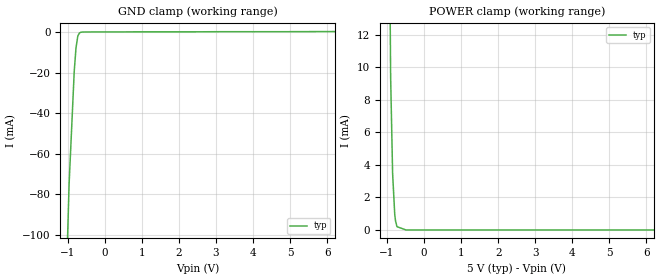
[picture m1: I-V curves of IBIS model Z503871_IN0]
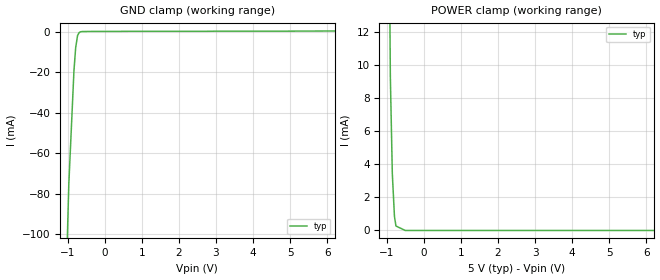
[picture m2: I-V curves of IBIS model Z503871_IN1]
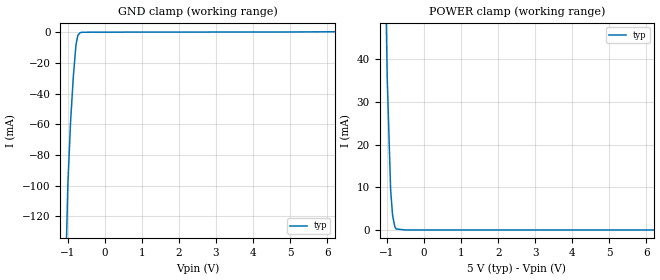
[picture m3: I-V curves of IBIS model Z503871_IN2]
| YOU ARE ONLY AUTHORIZED TO USE THIS SOFTWARE
| ACCORDING TO LICENSOR'S LICENSE RESTRICTIONS.
[IBIS Ver] 3.1
[File Name] mc74act573dw.ibs
[File Rev] 2.0
[Source] Measured and created by ICX Technology
[Date] Friday 7/14/00 9:08:02 AM
[Copyright]
| (C) COPYRIGHT 1993-2000
| MENTOR GRAPHICS CORPORATION
| ICX STANDARD LIBRARY, ICX PROJECT MODELING,
| ICX CUSTOM MODELING, ICX VENDOR MODEL
| ALL RIGHTS RESERVED.
| THE FOLLOWING ARE TRADEMARKS OR SERVICE MARKS OF
| MENTOR GRAPHICS CORPORATION:ICX (R), ICX STANDARD
| LIBRARY(R), ICX PROJECT MODELING(R), ICX CUSTOM
| MODELING(R), qualityIBIS(TM), MODELVIEWER(TM),
| AND MODELEDITOR(TM)
| ALL COPIES OF SOFTWARE, INCLUDING BUT NOT LIMITED TO
| ANY MODIFICATIONS, ENHANCEMENTS OR DERIVATIVE WORKS,
| MUST CONTAIN ALL MENTOR GRAPHICS CORPORATION'S
| NOTICES AND LEGENDS, INCLUDING THOSE EMBEDDED IN
| SOFTWARE AND THOSE AFFIXED TO SOFTWARE MEDIUM
| AND CONTAINER, AS RECEIVED FROM MENTOR GRAPHICS
| CORPORATION.
|  ZAP Model Builder 2.7
[Component] MC74ACT573DW
[Manufacturer] OnSemiconductor
[Package]
| variable   typ   min   max
R_pkg  .178ohms NA NA
L_pkg  4.43nH NA NA
C_pkg  .62pF NA NA
[Pin] signal_name  model_name  R_pin  L_pin C_pin
1 _EN Z503871_IN0 .186 5.37n .68p
2 D0 Z503871_IN1 .182 4.89n .65p
3 D1 Z503871_IN1 .178 4.42n .62p
4 D2 Z503871_IN1 .174 3.96n .59p
5 D3 Z503871_IN1 .17 3.51n .56p
6 D4 Z503871_IN1 .17 3.51n .56p
7 D5 Z503871_IN1 .174 3.96n .59p
8 D6 Z503871_IN1 .178 4.42n .62p
9 D7 Z503871_IN1 .182 4.89n .65p
10 GND GND .186 5.37n .68p
11 CLK Z503871_IN2 .186 5.37n .68p
12 Q7 Z503871_TRI .182 4.89n .65p
13 Q6 Z503871_TRI .178 4.42n .62p
14 Q5 Z503871_TRI .174 3.96n .59p
15 Q4 Z503871_TRI .17 3.51n .56p
16 Q3 Z503871_TRI .17 3.51n .56p
17 Q2 Z503871_TRI .174 3.96n .59p
18 Q1 Z503871_TRI .178 4.42n .62p
19 Q0 Z503871_TRI .182 4.89n .65p
20 VCC POWER .186 5.37n .68p
| Models and submodels in the file (4): Z503871_IN0 (Input), Z503871_IN1 (Input), Z503871_IN2 (Input), Z503871_TRI (3-state)
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| (C) COPYRIGHT 1993-2000
| MENTOR GRAPHICS CORPORATION
| ICX STANDARD LIBRARY, ICX PROJECT MODELING,
| ICX CUSTOM MODELING, ICX VENDOR MODEL
| ALL RIGHTS RESERVED.
| THE FOLLOWING ARE TRADEMARKS OR SERVICE MARKS OF
| MENTOR GRAPHICS CORPORATION:ICX (R), ICX STANDARD
| LIBRARY(R), ICX PROJECT MODELING(R), ICX CUSTOM
| MODELING(R), qualityIBIS(TM), MODELVIEWER(TM),
| AND MODELEDITOR(TM)
| ALL COPIES OF SOFTWARE, INCLUDING BUT NOT LIMITED TO
| ANY MODIFICATIONS, ENHANCEMENTS OR DERIVATIVE WORKS,
| MUST CONTAIN ALL MENTOR GRAPHICS CORPORATION'S
| NOTICES AND LEGENDS, INCLUDING THOSE EMBEDDED IN
| SOFTWARE AND THOSE AFFIXED TO SOFTWARE MEDIUM
| AND CONTAINER, AS RECEIVED FROM MENTOR GRAPHICS
| CORPORATION.
| Model Application Version 1.89 2/18/99.
[Model] Z503871_IN0
Model_type Input
Vinl = 800.0mV
Vinh = 2.000V
C_comp 4.000pF NA NA
| variable typ   min   max
[Voltage Range] 5.000V NA NA
[GND Clamp Reference] 0.000V NA NA
[POWER Clamp Reference] 5.000V NA NA
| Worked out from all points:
|   GND clamp passes 1 mA (typ) near -0.70 V on its own axis
|   POWER clamp passes 1 mA (typ) near -0.79 V on its own axis
[GND Clamp]
-5V       -2.664A    NA         NA
-966.7mV  -75.17mA   NA         NA
-828mV    -19.4mA    NA         NA
-781.1mV  -7.911mA   NA         NA
-730.7mV  -1.844mA   NA         NA
-687.2mV  -423.3uA   NA         NA
-648.2mV  -17.41uA   NA         NA
10V       567.7uA    NA         NA
[POWER Clamp]
-5V       2.844A     NA         NA
-1.113V   94.6mA     NA         NA
-1.01V    41.2mA     NA         NA
-903mV    9.41mA     NA         NA
-850mV    3.496mA    NA         NA
-792mV    943.2uA    NA         NA
-771mV    557.6uA    NA         NA
-732mV    202.8uA    NA         NA
-488mV    0A         NA         NA
10V       0A         NA         NA
| (C) COPYRIGHT 1993-2000
| MENTOR GRAPHICS CORPORATION
| ICX STANDARD LIBRARY, ICX PROJECT MODELING,
| ICX CUSTOM MODELING, ICX VENDOR MODEL
| ALL RIGHTS RESERVED.
| THE FOLLOWING ARE TRADEMARKS OR SERVICE MARKS OF
| MENTOR GRAPHICS CORPORATION:ICX (R), ICX STANDARD
| LIBRARY(R), ICX PROJECT MODELING(R), ICX CUSTOM
| MODELING(R), qualityIBIS(TM), MODELVIEWER(TM),
| AND MODELEDITOR(TM)
| ALL COPIES OF SOFTWARE, INCLUDING BUT NOT LIMITED TO
| ANY MODIFICATIONS, ENHANCEMENTS OR DERIVATIVE WORKS,
| MUST CONTAIN ALL MENTOR GRAPHICS CORPORATION'S
| NOTICES AND LEGENDS, INCLUDING THOSE EMBEDDED IN
| SOFTWARE AND THOSE AFFIXED TO SOFTWARE MEDIUM
| AND CONTAINER, AS RECEIVED FROM MENTOR GRAPHICS
| CORPORATION.
| Model Application Version 1.89 2/18/99.
[Model] Z503871_IN1
Model_type Input
Vinl = 800.0mV
Vinh = 2.000V
C_comp 4.000pF NA NA
| variable typ   min   max
[Voltage Range] 5.000V NA NA
[GND Clamp Reference] 0.000V NA NA
[POWER Clamp Reference] 5.000V NA NA
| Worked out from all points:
|   GND clamp passes 1 mA (typ) near -0.71 V on its own axis
|   POWER clamp passes 1 mA (typ) near -0.80 V on its own axis
[GND Clamp]
-5V       -2.775A    NA         NA
-966.8mV  -75.53mA   NA         NA
-828.2mV  -19.37mA   NA         NA
-781.3mV  -7.857mA   NA         NA
-730.1mV  -1.813mA   NA         NA
-687.2mV  -410uA     NA         NA
-648.2mV  6.625uA    NA         NA
10V       603.8uA    NA         NA
[POWER Clamp]
-5V       2.713A     NA         NA
-1.113V   92.68mA    NA         NA
-1.011V   40.53mA    NA         NA
-903mV    9.313mA    NA         NA
-850mV    3.448mA    NA         NA
-792mV    839.1uA    NA         NA
-752mV    271uA      NA         NA
-501.3mV  0A         NA         NA
10V       0A         NA         NA
| (C) COPYRIGHT 1993-2000
| MENTOR GRAPHICS CORPORATION
| ICX STANDARD LIBRARY, ICX PROJECT MODELING,
| ICX CUSTOM MODELING, ICX VENDOR MODEL
| ALL RIGHTS RESERVED.
| THE FOLLOWING ARE TRADEMARKS OR SERVICE MARKS OF
| MENTOR GRAPHICS CORPORATION:ICX (R), ICX STANDARD
| LIBRARY(R), ICX PROJECT MODELING(R), ICX CUSTOM
| MODELING(R), qualityIBIS(TM), MODELVIEWER(TM),
| AND MODELEDITOR(TM)
| ALL COPIES OF SOFTWARE, INCLUDING BUT NOT LIMITED TO
| ANY MODIFICATIONS, ENHANCEMENTS OR DERIVATIVE WORKS,
| MUST CONTAIN ALL MENTOR GRAPHICS CORPORATION'S
| NOTICES AND LEGENDS, INCLUDING THOSE EMBEDDED IN
| SOFTWARE AND THOSE AFFIXED TO SOFTWARE MEDIUM
| AND CONTAINER, AS RECEIVED FROM MENTOR GRAPHICS
| CORPORATION.
| Model Application Version 1.89 2/18/99.
[Model] Z503871_IN2
Model_type Input
Vinl = 800.0mV
Vinh = 2.000V
C_comp 4.000pF NA NA
| variable typ   min   max
[Voltage Range] 5.000V NA NA
[GND Clamp Reference] 0.000V NA NA
[POWER Clamp Reference] 5.000V NA NA
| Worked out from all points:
|   GND clamp passes 1 mA (typ) near -0.70 V on its own axis
|   POWER clamp passes 1 mA (typ) near -0.80 V on its own axis
[GND Clamp]
-5V       -4.048A    NA         NA
-1V       -99.1mA    NA         NA
-927.5mV  -58.63mA   NA         NA
-854.8mV  -29.66mA   NA         NA
-781.3mV  -8.175mA   NA         NA
-730.5mV  -1.887mA   NA         NA
-667.5mV  -156.8uA   NA         NA
10V       915.4uA    NA         NA
[POWER Clamp]
-5V       3.026A     NA         NA
-1.122V   104.3mA    NA         NA
-996mV    35.8mA     NA         NA
-903mV    9.33mA     NA         NA
-850mV    3.403mA    NA         NA
-792mV    802.1uA    NA         NA
-752mV    234.2uA    NA         NA
-501.3mV  0A         NA         NA
10V       0A         NA         NA
